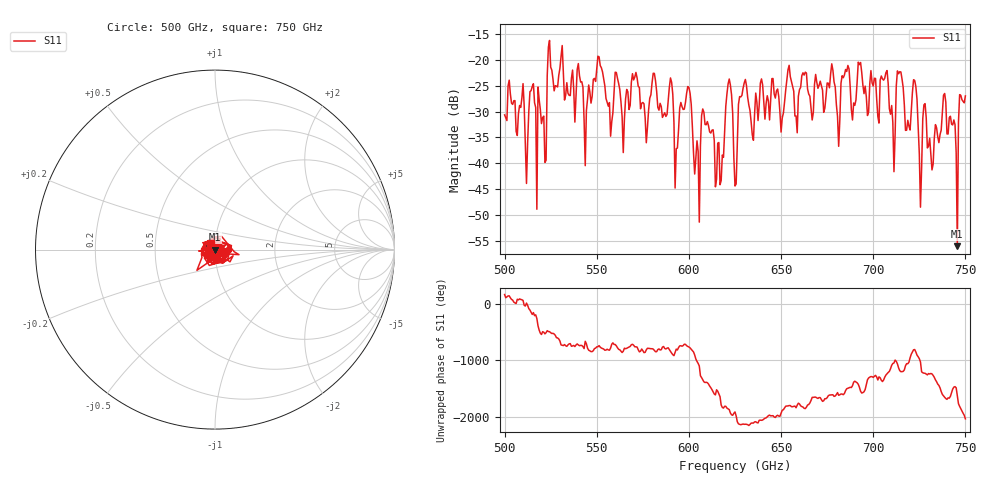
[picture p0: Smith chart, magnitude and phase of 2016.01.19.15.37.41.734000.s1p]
!Created with skrf (http://scikit-rf.org).
# GHz S RI R 50.0
!freq ReS11 ImS11
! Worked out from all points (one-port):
!   401 points, 500 GHz to 750 GHz, reference 50 ohm
!   lowest |S11| = -56.0 dB at 745.6 GHz (marker M1), VSWR 1.00, Z = 49.8 + j0.0385 ohm
!   |S11| at or under -10 dB: start of sweep to end of sweep
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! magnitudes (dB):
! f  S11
! 500 GHz  -30.7
! 511.9 GHz  -43.9
! 515 GHz  -25.2
! 521.2 GHz  -30.9
! 524.4 GHz  -16.3
! 531.2 GHz  -17.3
! 543.8 GHz  -40.4
! 562.5 GHz  -25.8
! 590 GHz  -23.5
! 593.8 GHz  -37.0
! 600 GHz  -25.4
! 604.4 GHz  -35.7
! 608.1 GHz  -30.1
! 617.5 GHz  -43.3
! 621.9 GHz  -23.7
! 625 GHz  -44.4
! 630 GHz  -24.5
! 656.2 GHz  -25.2
! 687.5 GHz  -25.3
! 706.9 GHz  -22.5
! 710.6 GHz  -32.1
! 714.4 GHz  -22.3
! 718.8 GHz  -31.7
! 722.5 GHz  -24.0
! 725.6 GHz  -48.4
! 738.1 GHz  -26.9
! 745.6 GHz  -56.0
! 750 GHz  -27.0
